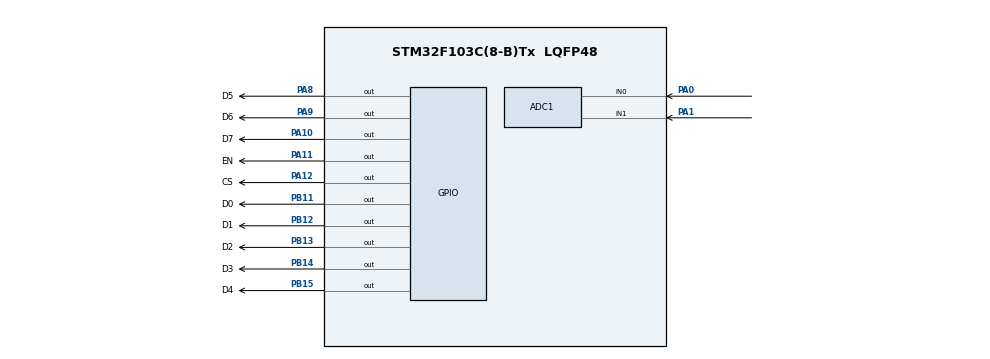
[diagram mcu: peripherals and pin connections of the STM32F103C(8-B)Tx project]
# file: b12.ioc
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ADC1.Channel-0\#ChannelRegularConversion=ADC_CHANNEL_0
ADC1.Channel-1\#ChannelRegularConversion=ADC_CHANNEL_1
ADC1.ContinuousConvMode=DISABLE
ADC1.NbrOfConversion=2
ADC1.NbrOfConversionFlag=1
ADC1.Rank-0\#ChannelRegularConversion=1
ADC1.Rank-1\#ChannelRegularConversion=2
ADC1.SamplingTime-0\#ChannelRegularConversion=ADC_SAMPLETIME_239CYCLES_5
ADC1.SamplingTime-1\#ChannelRegularConversion=ADC_SAMPLETIME_239CYCLES_5
ADC1.master=1
Dma.ADC1.0.Direction=DMA_PERIPH_TO_MEMORY
Dma.ADC1.0.Instance=DMA1_Channel1
Dma.ADC1.0.MemDataAlignment=DMA_MDATAALIGN_HALFWORD
Dma.ADC1.0.MemInc=DMA_MINC_ENABLE
Dma.ADC1.0.Mode=DMA_CIRCULAR
Dma.ADC1.0.PeriphDataAlignment=DMA_PDATAALIGN_HALFWORD
Dma.ADC1.0.PeriphInc=DMA_PINC_DISABLE
Dma.ADC1.0.Priority=DMA_PRIORITY_LOW
Dma.Request0=ADC1
Mcu.Family=STM32F1
Mcu.Name=STM32F103C(8-B)Tx
Mcu.Package=LQFP48
NVIC.ADC1_2_IRQn=true\:0\:0\:false\:false\:true\:true\:true\:true
NVIC.DMA1_Channel1_IRQn=true\:0\:0\:false\:false\:true\:false\:true\:true
NVIC.PriorityGroup=NVIC_PRIORITYGROUP_4
NVIC.TIM2_IRQn=true\:0\:0\:false\:false\:true\:true\:true\:true
PA0-WKUP.Signal=ADCx_IN0
PA1.Signal=ADCx_IN1
PA10.GPIO_Label=D7
PA10.Signal=GPIO_Output
PA11.GPIO_Label=EN
PA11.Signal=GPIO_Output
PA12.GPIO_Label=CS
PA12.Signal=GPIO_Output
PA13.Mode=Serial_Wire
PA13.Signal=SYS_JTMS-SWDIO
PA14.Mode=Serial_Wire
PA14.Signal=SYS_JTCK-SWCLK
PA8.GPIO_Label=D5
PA8.Signal=GPIO_Output
PA9.GPIO_Label=D6
PA9.Signal=GPIO_Output
PB11.GPIO_Label=D0
PB11.Signal=GPIO_Output
PB12.GPIO_Label=D1
PB12.Signal=GPIO_Output
PB13.GPIO_Label=D2
PB13.Signal=GPIO_Output
PB14.GPIO_Label=D3
PB14.Signal=GPIO_Output
PB15.GPIO_Label=D4
PB15.Signal=GPIO_Output
ProjectManager.HeapSize=0x200
ProjectManager.StackSize=0x400
ProjectManager.TargetToolchain=MDK-ARM V5.32
RCC.APB1Freq_Value=8000000
RCC.APB2Freq_Value=8000000
SH.ADCx_IN0.0=ADC1_IN0,IN0
SH.ADCx_IN1.0=ADC1_IN1,IN1
TIM2.AutoReloadPreload=TIM_AUTORELOAD_PRELOAD_ENABLE
TIM2.Period=4999
TIM2.Prescaler=1599
VP_TIM2_VS_ClockSourceINT.Mode=Internal
board=custom

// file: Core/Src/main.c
/* USER CODE BEGIN Header */
/**
  ******************************************************************************
  * @file           : main.c
  * @brief          : Main program body
  ******************************************************************************
  * @attention
  *
  * Copyright (c) 2022 STMicroelectronics.
  * All rights reserved.
  *
  * This software is licensed under terms that can be found in the LICENSE file
  * in the root directory of this software component.
  * If no LICENSE file comes with this software, it is provided AS-IS.
  *
  ******************************************************************************
  */
/* USER CODE END Header */
#include "main.h"

/* USER CODE BEGIN Includes */
#include "CLCD.h"
#include <stdio.h>
/* USER CODE END Includes */

ADC_HandleTypeDef hadc1;
DMA_HandleTypeDef hdma_adc1;

TIM_HandleTypeDef htim2;

/* USER CODE BEGIN PV */
uint16_t adc_value[2];
CLCD_Name LCD1;
char LCD_send[16];
uint16_t temp_adc1 =0;
uint16_t temp_adc2 =0;
float nhiet_do1 = 0;
float nhiet_do2 = 0;

uint8_t i ;

/* USER CODE END PV */

void SystemClock_Config(void);
static void MX_GPIO_Init(void);
static void MX_DMA_Init(void);
static void MX_ADC1_Init(void);
static void MX_TIM2_Init(void);

int main(void)
{

  /* MCU Configuration--------------------------------------------------------*/

  /* Reset of all peripherals, Initializes the Flash interface and the Systick. */
  HAL_Init();

  /* Configure the system clock */
  SystemClock_Config();

  /* Initialize all configured peripherals */
  MX_GPIO_Init();
  MX_DMA_Init();
  MX_ADC1_Init();
  MX_TIM2_Init();
  /* USER CODE BEGIN 2 */
	CLCD_4BIT_Init(&LCD1, 16, 2, CS_GPIO_Port, CS_Pin, EN_GPIO_Port, EN_Pin,
									D4_GPIO_Port, D4_Pin, D5_GPIO_Port, D5_Pin,
									D6_GPIO_Port, D6_Pin, D7_GPIO_Port, D7_Pin);
	HAL_ADC_Start_DMA(&hadc1, (uint32_t*)adc_value, 2 );
  /* USER CODE END 2 */

  /* Infinite loop */
  while (1)
  {

    /* USER CODE BEGIN 3 */
		HAL_ADC_Start(&hadc1);
		HAL_ADC_PollForConversion(&hadc1, 100);
		adc_value[0] = HAL_ADC_GetValue(&hadc1);
		for(i=0; i<20; i++){
			temp_adc1 += adc_value[0];
			HAL_Delay(50);
		}
		temp_adc1 = temp_adc1/20;
		nhiet_do1 = (((temp_adc1*3.3*100)/4095));
		CLCD_SetCursor(&LCD1, 0, 0);
		CLCD_WriteString(&LCD1, "T1:");
		sprintf(LCD_send, "%.2f", nhiet_do1);
		CLCD_WriteString(&LCD1, LCD_send);
		HAL_Delay(100);

		HAL_ADC_Start(&hadc1);
		HAL_ADC_PollForConversion(&hadc1, 100);
		adc_value[1] = HAL_ADC_GetValue(&hadc1);
		for(i=0; i<20; i++){
			temp_adc2 += adc_value[1];
			HAL_Delay(50);
		}
		temp_adc2 = temp_adc2/20;
		nhiet_do2 = (((temp_adc2*3.3*100)/4095));
		CLCD_SetCursor(&LCD1, 0, 1);
		CLCD_WriteString(&LCD1, "T2:");
		sprintf(LCD_send, "%.2f", nhiet_do2);
		CLCD_WriteString(&LCD1, LCD_send);
		HAL_Delay(100);
  }
  /* USER CODE END 3 */
}

void SystemClock_Config(void)
{
  RCC_OscInitTypeDef RCC_OscInitStruct = {0};
  RCC_ClkInitTypeDef RCC_ClkInitStruct = {0};
  RCC_PeriphCLKInitTypeDef PeriphClkInit = {0};

  /** Initializes the RCC Oscillators according to the specified parameters
  * in the RCC_OscInitTypeDef structure.
  */
  RCC_OscInitStruct.OscillatorType = RCC_OSCILLATORTYPE_HSI;
  RCC_OscInitStruct.HSIState = RCC_HSI_ON;
  RCC_OscInitStruct.HSICalibrationValue = RCC_HSICALIBRATION_DEFAULT;
  RCC_OscInitStruct.PLL.PLLState = RCC_PLL_NONE;
  if (HAL_RCC_OscConfig(&RCC_OscInitStruct) != HAL_OK)
  {
    Error_Handler();
  }

  /** Initializes the CPU, AHB and APB buses clocks
  */
  RCC_ClkInitStruct.ClockType = RCC_CLOCKTYPE_HCLK|RCC_CLOCKTYPE_SYSCLK
                              |RCC_CLOCKTYPE_PCLK1|RCC_CLOCKTYPE_PCLK2;
  RCC_ClkInitStruct.SYSCLKSource = RCC_SYSCLKSOURCE_HSI;
  RCC_ClkInitStruct.AHBCLKDivider = RCC_SYSCLK_DIV1;
  RCC_ClkInitStruct.APB1CLKDivider = RCC_HCLK_DIV1;
  RCC_ClkInitStruct.APB2CLKDivider = RCC_HCLK_DIV1;

  if (HAL_RCC_ClockConfig(&RCC_ClkInitStruct, FLASH_LATENCY_0) != HAL_OK)
  {
    Error_Handler();
  }
  PeriphClkInit.PeriphClockSelection = RCC_PERIPHCLK_ADC;
  PeriphClkInit.AdcClockSelection = RCC_ADCPCLK2_DIV2;
  if (HAL_RCCEx_PeriphCLKConfig(&PeriphClkInit) != HAL_OK)
  {
    Error_Handler();
  }
}

static void MX_ADC1_Init(void)
{

  ADC_ChannelConfTypeDef sConfig = {0};

  /** Common config
  */
  hadc1.Instance = ADC1;
  hadc1.Init.ScanConvMode = ADC_SCAN_ENABLE;
  hadc1.Init.ContinuousConvMode = DISABLE;
  hadc1.Init.DiscontinuousConvMode = DISABLE;
  hadc1.Init.ExternalTrigConv = ADC_SOFTWARE_START;
  hadc1.Init.DataAlign = ADC_DATAALIGN_RIGHT;
  hadc1.Init.NbrOfConversion = 2;
  if (HAL_ADC_Init(&hadc1) != HAL_OK)
  {
    Error_Handler();
  }

  /** Configure Regular Channel
  */
  sConfig.Channel = ADC_CHANNEL_0;
  sConfig.Rank = ADC_REGULAR_RANK_1;
  sConfig.SamplingTime = ADC_SAMPLETIME_239CYCLES_5;
  if (HAL_ADC_ConfigChannel(&hadc1, &sConfig) != HAL_OK)
  {
    Error_Handler();
  }

  /** Configure Regular Channel
  */
  sConfig.Channel = ADC_CHANNEL_1;
  sConfig.Rank = ADC_REGULAR_RANK_2;
  if (HAL_ADC_ConfigChannel(&hadc1, &sConfig) != HAL_OK)
  {
    Error_Handler();
  }

}

static void MX_TIM2_Init(void)
{

  TIM_ClockConfigTypeDef sClockSourceConfig = {0};
  TIM_MasterConfigTypeDef sMasterConfig = {0};

  htim2.Instance = TIM2;
  htim2.Init.Prescaler = 1599;
  htim2.Init.CounterMode = TIM_COUNTERMODE_UP;
  htim2.Init.Period = 4999;
  htim2.Init.ClockDivision = TIM_CLOCKDIVISION_DIV1;
  htim2.Init.AutoReloadPreload = TIM_AUTORELOAD_PRELOAD_ENABLE;
  if (HAL_TIM_Base_Init(&htim2) != HAL_OK)
  {
    Error_Handler();
  }
  sClockSourceConfig.ClockSource = TIM_CLOCKSOURCE_INTERNAL;
  if (HAL_TIM_ConfigClockSource(&htim2, &sClockSourceConfig) != HAL_OK)
  {
    Error_Handler();
  }
  sMasterConfig.MasterOutputTrigger = TIM_TRGO_RESET;
  sMasterConfig.MasterSlaveMode = TIM_MASTERSLAVEMODE_DISABLE;
  if (HAL_TIMEx_MasterConfigSynchronization(&htim2, &sMasterConfig) != HAL_OK)
  {
    Error_Handler();
  }

}

static void MX_DMA_Init(void)
{

  /* DMA controller clock enable */
  __HAL_RCC_DMA1_CLK_ENABLE();

  /* DMA interrupt init */
  /* DMA1_Channel1_IRQn interrupt configuration */
  HAL_NVIC_SetPriority(DMA1_Channel1_IRQn, 0, 0);
  HAL_NVIC_EnableIRQ(DMA1_Channel1_IRQn);

}

static void MX_GPIO_Init(void)
{
  GPIO_InitTypeDef GPIO_InitStruct = {0};

  /* GPIO Ports Clock Enable */
  __HAL_RCC_GPIOA_CLK_ENABLE();
  __HAL_RCC_GPIOB_CLK_ENABLE();

  /*Configure GPIO pin Output Level */
  HAL_GPIO_WritePin(GPIOB, D0_Pin|D1_Pin|D2_Pin|D3_Pin
                          |D4_Pin, GPIO_PIN_RESET);

  /*Configure GPIO pin Output Level */
  HAL_GPIO_WritePin(GPIOA, D5_Pin|D6_Pin|D7_Pin|EN_Pin
                          |CS_Pin, GPIO_PIN_RESET);

  /*Configure GPIO pins : D0_Pin D1_Pin D2_Pin D3_Pin
                           D4_Pin */
  GPIO_InitStruct.Pin = D0_Pin|D1_Pin|D2_Pin|D3_Pin
                          |D4_Pin;
  GPIO_InitStruct.Mode = GPIO_MODE_OUTPUT_PP;
  GPIO_InitStruct.Pull = GPIO_NOPULL;
  GPIO_InitStruct.Speed = GPIO_SPEED_FREQ_LOW;
  HAL_GPIO_Init(GPIOB, &GPIO_InitStruct);

  /*Configure GPIO pins : D5_Pin D6_Pin D7_Pin EN_Pin
                           CS_Pin */
  GPIO_InitStruct.Pin = D5_Pin|D6_Pin|D7_Pin|EN_Pin
                          |CS_Pin;
  GPIO_InitStruct.Mode = GPIO_MODE_OUTPUT_PP;
  GPIO_InitStruct.Pull = GPIO_NOPULL;
  GPIO_InitStruct.Speed = GPIO_SPEED_FREQ_LOW;
  HAL_GPIO_Init(GPIOA, &GPIO_InitStruct);

}

void Error_Handler(void)
{
  __disable_irq();
  while (1)
  {
  }
}
